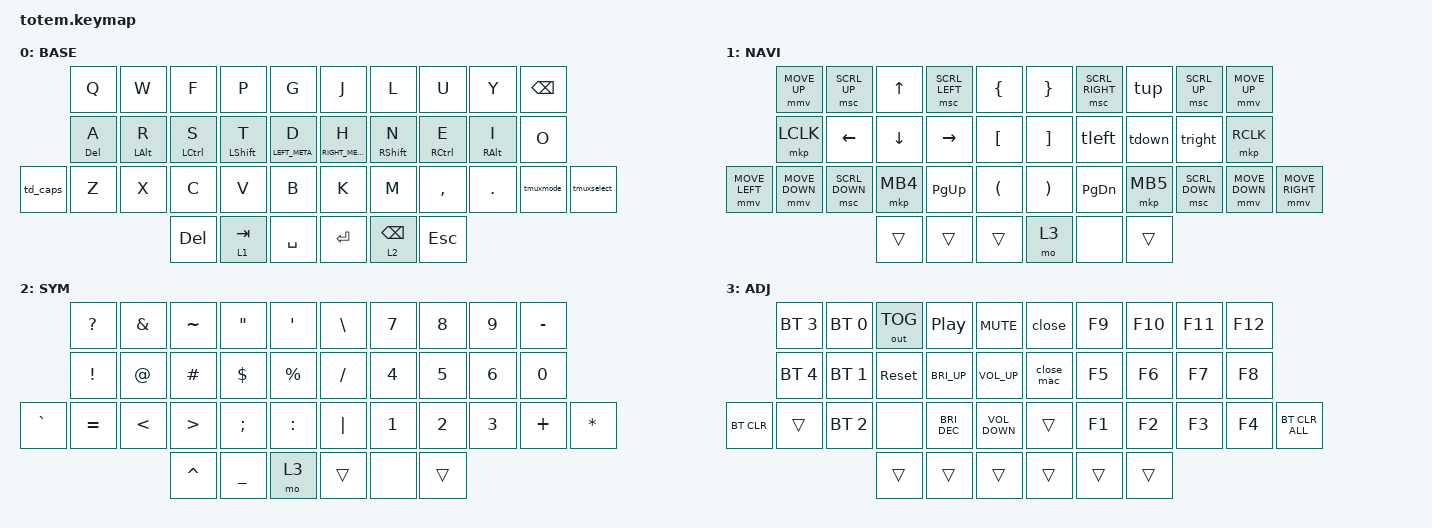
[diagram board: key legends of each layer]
//
//                                                        ▀▀▀▀▀     ▀▀▀▀▀          ▀▀█▀▀
//                                                        ▄▀▀▀▄  ▄  ▄▀▀▀▄  ▄  ▄▀▀▀▄  █  ▄▀▀▀▄
//                                                        █   █  █  █   █  █  █   █  █  █   █
//                                                         ▀▀▀   █   ▀▀▀   █   ▀▀▀   ▀   ▀▀▀
//                                                               █      ▄▄▄█▄▄▄    █   █  
//                                                               ▀      █  █  █     █▄█
//                                                             ▀▀▀▀▀    █  █  █      ▀
//                                                                      ▀  ▀  ▀
//
// ▄▄▄▄▄▄▄▄▄▄▄▄▄▄▄▄▄▄▄▄▄▄▄▄▄▄▄▄▄▄▄▄▄▄▄▄▄▄▄▄▄▄▄▄▄▄▄▄▄▄▄▄▄▄▄▄▄▄▄▄▄▄▄▄▄▄▄▄▄▄▄▄▄▄▄▄▄▄▄▄▄▄▄▄▄▄▄▄▄▄▄▄▄▄▄▄▄▄▄▄▄▄▄▄▄▄▄▄▄▄▄▄▄▄▄▄▄▄▄▄▄▄▄▄▄▄▄▄▄▄▄▄▄▄▄▄▄▄▄▄▄▄▄▄▄▄▄▄▄

#include <behaviors.dtsi>
#include <dt-bindings/zmk/bt.h>
#include <dt-bindings/zmk/keys.h>
#include <dt-bindings/zmk/outputs.h>
#include <dt-bindings/zmk/pointing.h>

#define BASE 0
#define NAV  1
#define SYM  2
#define ADJ  3
#define TVP1 4
#define TVP2 5

&mt {
    quick-tap-ms = <100>;
    global-quick-tap;
    flavor = "tap-preferred";
    tapping-term-ms = <180>;
};

&mmv {
    acceleration-exponent = <2>;
    time-to-max-speed-ms = <50>;
};

/ {
    combos { compatible = "zmk,combos"; };

    behaviors {
        td_caps: td_caps {
            compatible = "zmk,behavior-tap-dance";
            #binding-cells = <0>; // adjust as needed
            bindings = <&caps_word>, <&kp CAPS>;
        };

        custom_hold_tap: custom_hold_tap {
            compatible = "zmk,behavior-hold-tap";
            label = "CUSTOM_HOLD_TAP";
            bindings = <&kp>, <&kp>;

            #binding-cells = <2>;
            tapping-term-ms = <300>;
            quick-tap-ms = <100>;
            flavor = "tap-preferred";
        };
    };

    macros {
        tmuxmode: tmuxbegin {
            compatible = "zmk,behavior-macro";
            #binding-cells = <0>;
            bindings = <&kp RC(B)>;
            label = "TMUXBEGIN";
        };

        tleft: tleft {
            compatible = "zmk,behavior-macro";
            #binding-cells = <0>;
            bindings = <&kp LC(B) &kp LEFT>;
            label = "TLEFT";
        };

        tright: tright {
            compatible = "zmk,behavior-macro";
            #binding-cells = <0>;
            bindings = <&kp LC(B) &kp RIGHT_ARROW>;
            label = "TRIGHT";
        };

        tup: tup {
            compatible = "zmk,behavior-macro";
            #binding-cells = <0>;
            bindings = <&kp RC(B) &kp UP_ARROW>;
            label = "TUP";
        };

        tdown: tdown {
            compatible = "zmk,behavior-macro";
            #binding-cells = <0>;
            bindings = <&kp RC(B) &kp DOWN_ARROW>;
            label = "TDOWN";
        };

        ctrlw: ctrlw {
            compatible = "zmk,behavior-macro";
            #binding-cells = <0>;
            bindings = <&kp RC(W)>;
            label = "CTRLW";
        };

        tmuxselect: tmuxmode {
            compatible = "zmk,behavior-macro";
            #binding-cells = <0>;
            bindings = <&kp LC(B) &kp LEFT_BRACKET>;
            label = "TMUXMODE";
        };

        close: close {
            compatible = "zmk,behavior-macro";
            #binding-cells = <0>;
            bindings = <&kp LA(F4)>;
            label = "CLOSE";
        };

        close_mac: close_mac {
            compatible = "zmk,behavior-macro";
            #binding-cells = <0>;
            bindings = <&kp LEFT_META &kp F4>;
            label = "CLOSE_MAC";
        };
    };

    keymap {
        compatible = "zmk,keymap";

        // ▄▄▄▄▄▄▄▄▄▄▄▄▄▄▄▄▄▄▄▄▄▄▄▄▄▄▄▄▄▄▄▄▄▄▄▄▄▄▄▄▄▄▄▄▄▄▄▄▄▄▄▄▄▄▄▄▄▄▄▄▄▄▄▄▄▄▄▄▄▄▄▄▄▄▄▄▄▄▄▄▄▄▄▄▄▄▄▄▄▄▄▄▄▄▄▄▄▄▄▄▄▄▄▄▄▄▄▄▄▄▄▄▄▄▄▄▄▄▄▄▄▄▄▄▄▄▄▄▄▄▄▄▄▄▄▄▄▄▄▄▄▄▄▄▄▄▄▄▄

        base_layer {
            // ┏━━━━━━━━━━━━━━━━━━━━━━━━━━━━━━━━━━━━━━━┓

            label = "BASE";

            // ┗━━━━━━━━━━━━━━━━━━━━━━━━━━━━━━━━━━━━━━━┛
            //             ┏━━━━━━━━━━━┳━━━━━━━━━━━┳━━━━━━━━━━━┳━━━━━━━━━━━┳━━━━━━━━━━━┓   ┏━━━━━━━━━━━┳━━━━━━━━━━━┳━━━━━━━━━━━┳━━━━━━━━━━━┳━━━━━━━━━━━┓
            //             ┃     Q     ┃     W     ┃     F     ┃     P     ┃     G     ┃   ┃     J     ┃     L     ┃     U     ┃     Y     ┃     ;     ┃
            //             ┣━━━━━━━━━━━╋━━━━━━━━━━━╋━━━━━━━━━━━╋━━━━━━━━━━━╋━━━━━━━━━━━┫   ┣━━━━━━━━━━━╋━━━━━━━━━━━╋━━━━━━━━━━━╋━━━━━━━━━━━╋━━━━━━━━━━━┫
            //             ┃     A     ┃     R     ┃     S     ┃     T     ┃     D     ┃   ┃     H     ┃     N     ┃     E     ┃     I     ┃     O     ┃
            // ┏━━━━━━━━━━━╋━━━━━━━━━━━╋━━━━━━━━━━━╋━━━━━━━━━━━╋━━━━━━━━━━━╋━━━━━━━━━━━┫   ┣━━━━━━━━━━━╋━━━━━━━━━━━╋━━━━━━━━━━━╋━━━━━━━━━━━╋━━━━━━━━━━━╋━━━━━━━━━━━┓
            // ┃     Q     ┃     Z     ┃     X     ┃     C     ┃     V     ┃     B     ┃   ┃     K     ┃     M     ┃     ,     ┃     .     ┃     /     ┃     \     ┃
            // ┗━━━━━━━━━━━┻━━━━━━━━━━━┻━━━━━━━━━━━╋━━━━━━━━━━━╋━━━━━━━━━━━╋━━━━━━━━━━━┫   ┣━━━━━━━━━━━╋━━━━━━━━━━━╋━━━━━━━━━━━╋━━━━━━━━━━━┻━━━━━━━━━━━┻━━━━━━━━━━━┛
            //                                     ┃    DEL    ┃    TAB    ┃    SPC    ┃   ┃   ENTER   ┃           ┃   BSPC    ┃
            //                                     ┗━━━━━━━━━━━┻━━━━━━━━━━━┻━━━━━━━━━━━┛   ┗━━━━━━━━━━━┻━━━━━━━━━━━┻━━━━━━━━━━━┛

            bindings = <
          &kp Q                      &kp W                    &kp F        &kp P        &kp G                           &kp J                          &kp L            &kp U        &kp Y                         &kp BACKSPACE
          &custom_hold_tap DELETE A  &custom_hold_tap LALT R  &mt LCTRL S  &mt LSHFT T  &custom_hold_tap LEFT_META D    &custom_hold_tap RIGHT_META H  &mt RSHFT N      &mt RCTRL E  &custom_hold_tap RIGHT_ALT I  &kp O
&td_caps  &kp Z                      &kp X                    &kp C        &kp V        &kp B                           &kp K                          &kp M            &kp COMMA    &kp DOT                       &tmuxmode      &tmuxselect
                                                              &kp DEL      &lt 1 TAB    &kp SPACE                       &kp RET                        &lt 2 BACKSPACE  &kp ESCAPE
            >;
        };

        // ▄▄▄▄▄▄▄▄▄▄▄▄▄▄▄▄▄▄▄▄▄▄▄▄▄▄▄▄▄▄▄▄▄▄▄▄▄▄▄▄▄▄▄▄▄▄▄▄▄▄▄▄▄▄▄▄▄▄▄▄▄▄▄▄▄▄▄▄▄▄▄▄▄▄▄▄▄▄▄▄▄▄▄▄▄▄▄▄▄▄▄▄▄▄▄▄▄▄▄▄▄▄▄▄▄▄▄▄▄▄▄▄▄▄▄▄▄▄▄▄▄▄▄▄▄▄▄▄▄▄▄▄▄▄▄▄▄▄▄▄▄▄▄▄▄▄▄▄▄

        nav_layer {
            // ┏━━━━━━━━━━━━━━━━━━━━━━━━━━━━━━━━━━━━━━━┓

            label = "NAVI";

            // ┗━━━━━━━━━━━━━━━━━━━━━━━━━━━━━━━━━━━━━━━┛
            //             ┏━━━━━━━━━━━┳━━━━━━━━━━━┳━━━━━━━━━━━┳━━━━━━━━━━━┳━━━━━━━━━━━┓   ┏━━━━━━━━━━━┳━━━━━━━━━━━┳━━━━━━━━━━━┳━━━━━━━━━━━┳━━━━━━━━━━━┓
            //             ┃           ┃           ┃     UP    ┃           ┃     {     ┃   ┃     }     ┃     7     ┃     8     ┃     9     ┃     +     ┃
            //             ┣━━━━━━━━━━━╋━━━━━━━━━━━╋━━━━━━━━━━━╋━━━━━━━━━━━╋━━━━━━━━━━━┫   ┣━━━━━━━━━━━╋━━━━━━━━━━━╋━━━━━━━━━━━╋━━━━━━━━━━━╋━━━━━━━━━━━┫
            //             ┃   SHIFT   ┃   LEFT    ┃    DOWN   ┃   RIGHT   ┃     [     ┃   ┃     ]     ┃     4     ┃     5     ┃     6     ┃     -     ┃
            // ┏━━━━━━━━━━━╋━━━━━━━━━━━╋━━━━━━━━━━━╋━━━━━━━━━━━╋━━━━━━━━━━━╋━━━━━━━━━━━┫   ┣━━━━━━━━━━━╋━━━━━━━━━━━╋━━━━━━━━━━━╋━━━━━━━━━━━╋━━━━━━━━━━━╋━━━━━━━━━━━┓
            // ┃           ┃           ┃   P UP    ┃  C LOCK   ┃  P DOWN   ┃     (     ┃   ┃     )     ┃     1     ┃     2     ┃     3     ┃     *     ┃           ┃
            // ┗━━━━━━━━━━━┻━━━━━━━━━━━┻━━━━━━━━━━━╋━━━━━━━━━━━╋━━━━━━━━━━━╋━━━━━━━━━━━┫   ┣━━━━━━━━━━━╋━━━━━━━━━━━╋━━━━━━━━━━━╋━━━━━━━━━━━┻━━━━━━━━━━━┻━━━━━━━━━━━┛
            //                                     ┃           ┃    TAB    ┃    SPC    ┃   ┃    DEL    ┃     0     ┃           ┃
            //                                     ┗━━━━━━━━━━━┻━━━━━━━━━━━┻━━━━━━━━━━━┛   ┗━━━━━━━━━━━┻━━━━━━━━━━━┻━━━━━━━━━━━┛

            bindings = <
                &mmv MOVE_UP    &msc SCRL_UP    &kp UP    &msc SCRL_LEFT  &kp LBRC    &kp RBRC  &msc SCRL_RIGHT  &tup      &msc SCRL_UP    &mmv MOVE_UP
                &mkp LCLK       &kp LEFT        &kp DOWN  &kp RIGHT       &kp LBKT    &kp RBKT  &tleft           &tdown    &tright         &mkp RCLK
&mmv MOVE_LEFT  &mmv MOVE_DOWN  &msc SCRL_DOWN  &mkp MB4  &kp PAGE_UP     &kp LPAR    &kp RPAR  &kp PAGE_DOWN    &mkp MB5  &msc SCRL_DOWN  &mmv MOVE_DOWN  &mmv MOVE_RIGHT
                                                &trans    &trans          &trans      &mo 3     &none            &trans
            >;
        };

        // ▄▄▄▄▄▄▄▄▄▄▄▄▄▄▄▄▄▄▄▄▄▄▄▄▄▄▄▄▄▄▄▄▄▄▄▄▄▄▄▄▄▄▄▄▄▄▄▄▄▄▄▄▄▄▄▄▄▄▄▄▄▄▄▄▄▄▄▄▄▄▄▄▄▄▄▄▄▄▄▄▄▄▄▄▄▄▄▄▄▄▄▄▄▄▄▄▄▄▄▄▄▄▄▄▄▄▄▄▄▄▄▄▄▄▄▄▄▄▄▄▄▄▄▄▄▄▄▄▄▄▄▄▄▄▄▄▄▄▄▄▄▄▄▄▄▄▄▄▄

        sim_layer {
            // ┏━━━━━━━━━━━━━━━━━━━━━━━━━━━━━━━━━━━━━━━┓

            label = "SYM";

            // ┗━━━━━━━━━━━━━━━━━━━━━━━━━━━━━━━━━━━━━━━┛
            //             ┏━━━━━━━━━━━┳━━━━━━━━━━━┳━━━━━━━━━━━┳━━━━━━━━━━━┳━━━━━━━━━━━┓   ┏━━━━━━━━━━━┳━━━━━━━━━━━┳━━━━━━━━━━━┳━━━━━━━━━━━┳━━━━━━━━━━━┓
            //             ┃     !     ┃     @     ┃     #     ┃     $     ┃     %     ┃   ┃     ˆ     ┃     &     ┃     Ü     ┃     '     ┃     "     ┃
            //             ┣━━━━━━━━━━━╋━━━━━━━━━━━╋━━━━━━━━━━━╋━━━━━━━━━━━╋━━━━━━━━━━━┫   ┣━━━━━━━━━━━╋━━━━━━━━━━━╋━━━━━━━━━━━╋━━━━━━━━━━━╋━━━━━━━━━━━┫
            //             ┃     Ä     ┃           ┃    SZ     ┃           ┃           ┃   ┃   MUTE    ┃   YEN     ┃   EURO    ┃  POUND    ┃     Ö     ┃
            // ┏━━━━━━━━━━━╋━━━━━━━━━━━╋━━━━━━━━━━━╋━━━━━━━━━━━╋━━━━━━━━━━━╋━━━━━━━━━━━┫   ┣━━━━━━━━━━━╋━━━━━━━━━━━╋━━━━━━━━━━━╋━━━━━━━━━━━╋━━━━━━━━━━━╋━━━━━━━━━━━┓
            // ┃           ┃  EMAIL1   ┃  EMAIL2   ┃           ┃           ┃           ┃   ┃   VOL-    ┃   VOL+    ┃   LAST    ┃   NEXT    ┃     \     ┃           ┃
            // ┗━━━━━━━━━━━┻━━━━━━━━━━━┻━━━━━━━━━━━╋━━━━━━━━━━━╋━━━━━━━━━━━╋━━━━━━━━━━━┫   ┣━━━━━━━━━━━╋━━━━━━━━━━━╋━━━━━━━━━━━╋━━━━━━━━━━━┻━━━━━━━━━━━┻━━━━━━━━━━━┛
            //                                     ┃           ┃    GIF    ┃    ADJ    ┃   ┃           ┃           ┃           ┃
            //                                     ┗━━━━━━━━━━━┻━━━━━━━━━━━┻━━━━━━━━━━━┛   ┗━━━━━━━━━━━┻━━━━━━━━━━━┻━━━━━━━━━━━┛

            bindings = <
           &kp QUESTION  &kp AMPS  &kp TILDE  &kp DOUBLE_QUOTES  &kp SINGLE_QUOTE    &kp BACKSLASH  &kp N7  &kp N8  &kp N9  &kp MINUS
           &kp EXCL      &kp AT    &kp HASH   &kp DOLLAR         &kp PERCENT         &kp SLASH      &kp N4  &kp N5  &kp N6  &kp N0
&kp GRAVE  &kp EQUAL     &kp LT    &kp GT     &kp SEMICOLON      &kp COLON           &kp PIPE       &kp N1  &kp N2  &kp N3  &kp PLUS   &kp ASTRK
                                   &kp CARET  &kp UNDER          &mo 3               &trans         &none   &trans
            >;
        };

        // ▄▄▄▄▄▄▄▄▄▄▄▄▄▄▄▄▄▄▄▄▄▄▄▄▄▄▄▄▄▄▄▄▄▄▄▄▄▄▄▄▄▄▄▄▄▄▄▄▄▄▄▄▄▄▄▄▄▄▄▄▄▄▄▄▄▄▄▄▄▄▄▄▄▄▄▄▄▄▄▄▄▄▄▄▄▄▄▄▄▄▄▄▄▄▄▄▄▄▄▄▄▄▄▄▄▄▄▄▄▄▄▄▄▄▄▄▄▄▄▄▄▄▄▄▄▄▄▄▄▄▄▄▄▄▄▄▄▄▄▄▄▄▄▄▄▄▄▄▄

        adjust_layer {
            // ┏━━━━━━━━━━━━━━━━━━━━━━━━━━━━━━━━━━━━━━━┓

            label = "ADJ";

            // ┗━━━━━━━━━━━━━━━━━━━━━━━━━━━━━━━━━━━━━━━┛
            //             ┏━━━━━━━━━━━┳━━━━━━━━━━━┳━━━━━━━━━━━┳━━━━━━━━━━━┳━━━━━━━━━━━┓   ┏━━━━━━━━━━━┳━━━━━━━━━━━┳━━━━━━━━━━━┳━━━━━━━━━━━┳━━━━━━━━━━━┓
            //             ┃   RESET   ┃ BT CLEAR  ┃  OUT TOG  ┃           ┃           ┃   ┃           ┃    F7     ┃    F8     ┃    F9     ┃    F12    ┃
            //             ┣━━━━━━━━━━━╋━━━━━━━━━━━╋━━━━━━━━━━━╋━━━━━━━━━━━╋━━━━━━━━━━━┫   ┣━━━━━━━━━━━╋━━━━━━━━━━━╋━━━━━━━━━━━╋━━━━━━━━━━━╋━━━━━━━━━━━┫
            //             ┃ BOOTLOAD  ┃ BT NEXT   ┃           ┃           ┃           ┃   ┃           ┃    F4     ┃    F5     ┃    F6     ┃    F11    ┃
            // ┏━━━━━━━━━━━╋━━━━━━━━━━━╋━━━━━━━━━━━╋━━━━━━━━━━━╋━━━━━━━━━━━╋━━━━━━━━━━━┫   ┣━━━━━━━━━━━╋━━━━━━━━━━━╋━━━━━━━━━━━╋━━━━━━━━━━━╋━━━━━━━━━━━╋━━━━━━━━━━━┓
            // ┃           ┃           ┃ BT PREV   ┃           ┃           ┃           ┃   ┃           ┃    F1     ┃    F2     ┃    F3     ┃    F10    ┃           ┃
            // ┗━━━━━━━━━━━┻━━━━━━━━━━━┻━━━━━━━━━━━╋━━━━━━━━━━━╋━━━━━━━━━━━╋━━━━━━━━━━━┫   ┣━━━━━━━━━━━╋━━━━━━━━━━━╋━━━━━━━━━━━╋━━━━━━━━━━━┻━━━━━━━━━━━┻━━━━━━━━━━━┛
            //                                     ┃           ┃           ┃           ┃   ┃           ┃           ┃           ┃
            //                                     ┗━━━━━━━━━━━┻━━━━━━━━━━━┻━━━━━━━━━━━┛   ┗━━━━━━━━━━━┻━━━━━━━━━━━┻━━━━━━━━━━━┛

            bindings = <
            &bt BT_SEL 3  &bt BT_SEL 0  &out OUT_TOG  &kp C_PLAY_PAUSE  &kp C_MUTE           &close      &kp F9  &kp F10  &kp F11  &kp F12
            &bt BT_SEL 4  &bt BT_SEL 1  &sys_reset    &kp C_BRI_UP      &kp C_VOLUME_UP      &close_mac  &kp F5  &kp F6   &kp F7   &kp F8
&bt BT_CLR  &trans        &bt BT_SEL 2  &none         &kp C_BRI_DEC     &kp C_VOLUME_DOWN    &trans      &kp F1  &kp F2   &kp F3   &kp F4   &bt BT_CLR_ALL
                                        &trans        &trans            &trans               &trans      &trans  &trans
            >;
        };

        // ▄▄▄▄▄▄▄▄▄▄▄▄▄▄▄▄▄▄▄▄▄▄▄▄▄▄▄▄▄▄▄▄▄▄▄▄▄▄▄▄▄▄▄▄▄▄▄▄▄▄▄▄▄▄▄▄▄▄▄▄▄▄▄▄▄▄▄▄▄▄▄▄▄▄▄▄▄▄▄▄▄▄▄▄▄▄▄▄▄▄▄▄▄▄▄▄▄▄▄▄▄▄▄▄▄▄▄▄▄▄▄▄▄▄▄▄▄▄▄▄▄▄▄▄▄▄▄▄▄▄▄▄▄▄▄▄▄▄▄▄▄▄▄▄▄▄▄▄▄
        // ▄▄▄▄▄▄▄▄▄▄▄▄▄▄▄▄▄▄▄▄▄▄▄▄▄▄▄▄▄▄▄▄▄▄▄▄▄▄▄▄▄▄▄▄▄▄▄▄▄▄▄▄▄▄▄▄▄▄▄▄▄▄▄▄▄▄▄▄▄▄▄▄▄▄▄▄▄▄▄▄▄▄▄▄▄▄▄▄▄▄▄▄▄▄▄▄▄▄▄▄▄▄▄▄▄▄▄▄▄▄▄▄▄▄▄▄▄▄▄▄▄▄▄▄▄▄▄▄▄▄▄▄▄▄▄▄▄▄▄▄▄▄▄▄▄▄▄▄▄
    };
};
